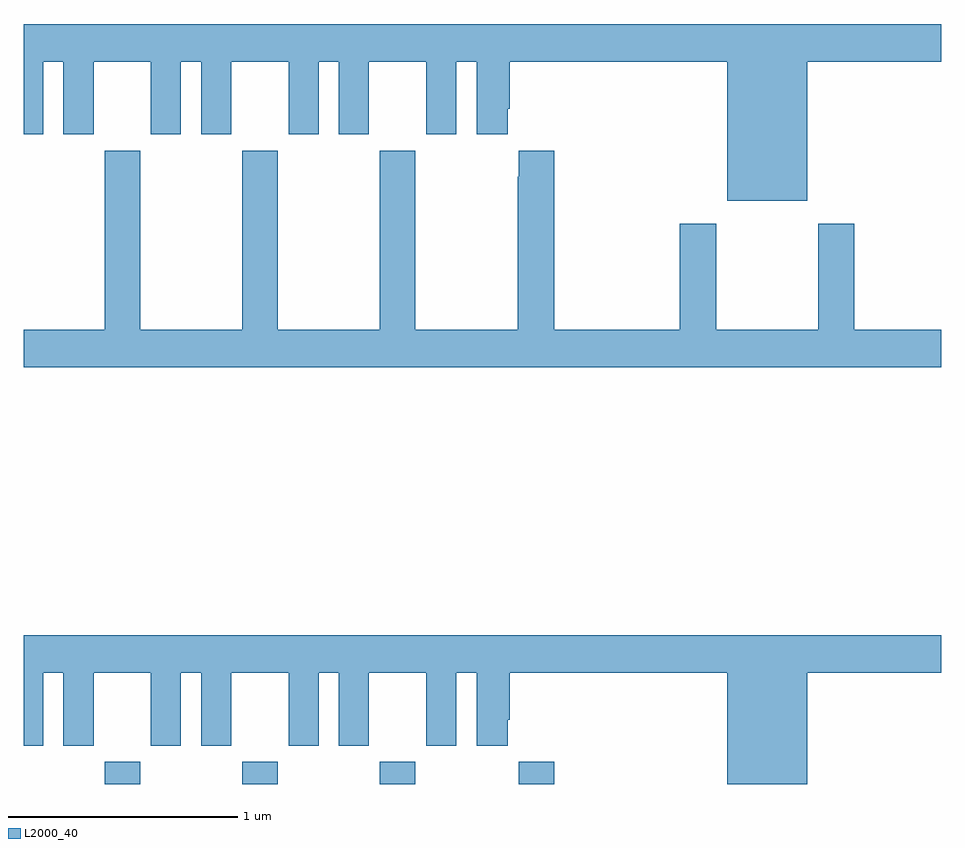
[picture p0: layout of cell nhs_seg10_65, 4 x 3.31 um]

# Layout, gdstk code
import gdstk
lib = gdstk.Library(unit=1e-6, precision=1e-09)
def R(c, l, rs):  # rectangles x0, y0, x1, y1
    for r in rs: c.add(gdstk.rectangle(r[:2], r[2:], *l))
def A(c, l, x, y, w, h, nx, ny, dx, dy):  # array of equal rectangles
    R(c, l, [(x+i*dx, y+j*dy, x+i*dx+w, y+j*dy+h) for i in range(nx) for j in range(ny)])
def P(c, l, *ps):  # polygons
    for p in ps: c.add(gdstk.Polygon(p, *l))
L2000_40 = (2000, 40)

nhs_seg10_65 = lib.new_cell('nhs_seg10_65')
A(nhs_seg10_65, L2000_40, 113.353, 1298.5, 0.155, 0.096, 3, 1, 0.6, 0)
R(nhs_seg10_65, L2000_40, [(115.157,1298.5,115.313,1298.596)])
P(nhs_seg10_65, L2000_40, [(116.416,1301.648),(117,1301.648),(117,1301.812),(113,1301.812),(113,1301.331),(113.086,1301.331),(113.086,1301.648),(113.174,1301.648),(113.174,1301.331),(113.305,1301.331),(113.305,1301.648),(113.555,1301.648),(113.555,1301.331),(113.686,1301.331),(113.686,1301.648),(113.774,1301.648),(113.774,1301.331),(113.905,1301.331),(113.905,1301.648),(114.155,1301.648),(114.155,1301.331),(114.286,1301.331),(114.286,1301.648),(114.374,1301.648),(114.374,1301.331),(114.505,1301.331),(114.505,1301.648),(114.755,1301.648),(114.755,1301.331),(114.886,1301.331),(114.886,1301.648),(114.974,1301.648),(114.974,1301.331),(115.111,1301.331),(115.111,1301.443),(115.118,1301.443),(115.118,1301.648),(116.066,1301.648),(116.066,1301.042),(116.416,1301.042)],
  [(117,1300.48),(116.619,1300.48),(116.619,1300.942),(116.464,1300.942),(116.464,1300.48),(116.019,1300.48),(116.019,1300.942),(115.859,1300.942),(115.859,1300.48),(115.313,1300.48),(115.313,1301.26),(115.157,1301.26),(115.157,1301.147),(115.153,1301.147),(115.153,1300.48),(114.708,1300.48),(114.708,1301.26),(114.553,1301.26),(114.553,1300.48),(114.108,1300.48),(114.108,1301.26),(113.953,1301.26),(113.953,1300.48),(113.508,1300.48),(113.508,1301.26),(113.353,1301.26),(113.353,1300.48),(113,1300.48),(113,1300.316),(117,1300.316)],
  [(116.416,1298.984),(117,1298.984),(117,1299.148),(113,1299.148),(113,1298.667),(113.086,1298.667),(113.086,1298.984),(113.174,1298.984),(113.174,1298.667),(113.305,1298.667),(113.305,1298.984),(113.555,1298.984),(113.555,1298.667),(113.686,1298.667),(113.686,1298.984),(113.774,1298.984),(113.774,1298.667),(113.905,1298.667),(113.905,1298.984),(114.155,1298.984),(114.155,1298.667),(114.286,1298.667),(114.286,1298.984),(114.374,1298.984),(114.374,1298.667),(114.505,1298.667),(114.505,1298.984),(114.755,1298.984),(114.755,1298.667),(114.886,1298.667),(114.886,1298.984),(114.974,1298.984),(114.974,1298.667),(115.111,1298.667),(115.111,1298.779),(115.118,1298.779),(115.118,1298.984),(116.066,1298.984),(116.066,1298.5),(116.416,1298.5)])

lib.write_gds('nhs_seg10_65.gds')
